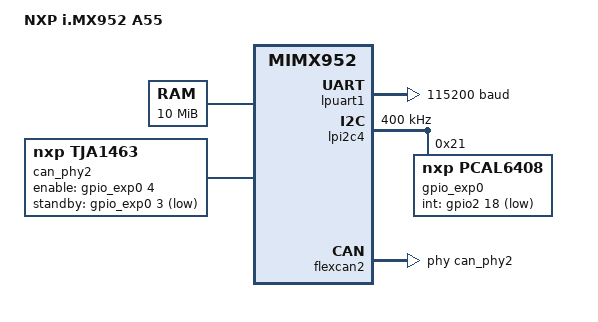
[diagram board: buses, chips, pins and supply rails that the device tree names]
/*
 * SPDX-FileCopyrightText: Copyright 2026 NXP
 *
 * SPDX-License-Identifier: Apache-2.0
 */

/dts-v1/;

#include <nxp/nxp_mimx952_a55.dtsi>
#include "imx952_evk-pinctrl.dtsi"

/ {
	model = "NXP i.MX952 A55";
	compatible = "fsl,mimx952";

	chosen {
		zephyr,canbus = &flexcan2;
		zephyr,console = &lpuart1;
		zephyr,shell-uart = &lpuart1;
		zephyr,sram = &dram;
	};

	cpus {
		cpu@0 {
			status = "disabled";
		};

		cpu@100 {
			status = "disabled";
		};

		cpu@200 {
			status = "disabled";
		};
	};

	dram: memory@d0000000 {
		reg = <0xd0000000 DT_SIZE_M(10)>;
	};

	can_phy2: can-phy2 {
		compatible = "nxp,tja1463", "can-transceiver-gpio";
		enable-gpios = <&gpio_exp0 4 GPIO_ACTIVE_HIGH>;
		standby-gpios = <&gpio_exp0 3 GPIO_ACTIVE_LOW>;
		max-bitrate = <8000000>;
		#phy-cells = <0>;
		status = "okay";
	};
};

&lpuart1 {
	status = "okay";
	current-speed = <115200>;
	pinctrl-0 = <&lpuart1_default>;
	pinctrl-names = "default";
};

&gpio2 {
	status = "okay";
};

&lpi2c4 {
	clock-frequency = <I2C_BITRATE_FAST>;
	pinctrl-0 = <&lpi2c4_default>;
	pinctrl-names = "default";
	status = "okay";

	gpio_exp0: pcal6408@21 {
		compatible = "nxp,pcal6408";
		reg = <0x21>;
		#gpio-cells = <2>;
		gpio-controller;
		ngpios = <8>;
		int-gpios = <&gpio2 18 (GPIO_ACTIVE_LOW | GPIO_PULL_UP)>;
		status = "okay";
	};
};

&flexcan2 {
	pinctrl-0 = <&flexcan2_default>;
	pinctrl-names = "default";
	phys = <&can_phy2>;
	status = "okay";
};
